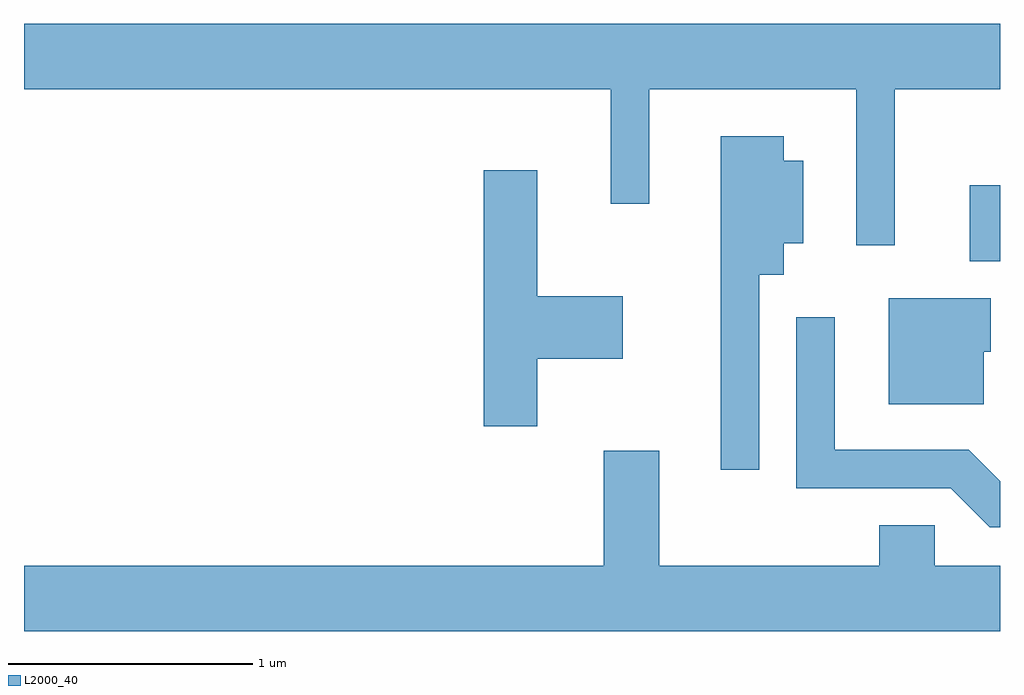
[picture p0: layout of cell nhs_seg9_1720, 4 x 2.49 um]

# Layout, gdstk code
import gdstk
lib = gdstk.Library(unit=1e-6, precision=1e-09)
def R(c, l, rs):  # rectangles x0, y0, x1, y1
    for r in rs: c.add(gdstk.rectangle(r[:2], r[2:], *l))
def P(c, l, *ps):  # polygons
    for p in ps: c.add(gdstk.Polygon(p, *l))
L2000_40 = (2000, 40)

nhs_seg9_1720 = lib.new_cell('nhs_seg9_1720')
R(nhs_seg9_1720, L2000_40, [(239.486,1986.671,239.611,1986.983)])
P(nhs_seg9_1720, L2000_40, [(239.179,1987.376),(239.611,1987.376),(239.611,1987.644),(235.611,1987.644),(235.611,1987.376),(238.016,1987.376),(238.016,1986.908),(238.174,1986.908),(238.174,1987.376),(239.021,1987.376),(239.021,1986.738),(239.179,1986.738)],
  [(238.624,1986.616),(238.724,1986.616),(238.724,1986.746),(238.804,1986.746),(238.804,1987.084),(238.724,1987.084),(238.724,1987.184),(238.466,1987.184),(238.466,1985.818),(238.624,1985.818)],
  [(237.714,1986.271),(238.064,1986.271),(238.064,1986.529),(237.714,1986.529),(237.714,1987.044),(237.496,1987.044),(237.496,1985.996),(237.714,1985.996)],
  [(239.544,1986.301),(239.574,1986.301),(239.574,1986.519),(239.156,1986.519),(239.156,1986.086),(239.544,1986.086)],
  [(239.611,1985.77),(239.482,1985.899),(238.934,1985.899),(238.934,1986.443),(238.776,1986.443),(238.776,1985.741),(239.409,1985.741),(239.569,1985.581),(239.611,1985.581)],
  [(239.611,1985.424),(239.344,1985.424),(239.344,1985.589),(239.116,1985.589),(239.116,1985.424),(238.214,1985.424),(238.214,1985.894),(237.986,1985.894),(237.986,1985.424),(235.611,1985.424),(235.611,1985.156),(239.611,1985.156)])

lib.write_gds('nhs_seg9_1720.gds')
